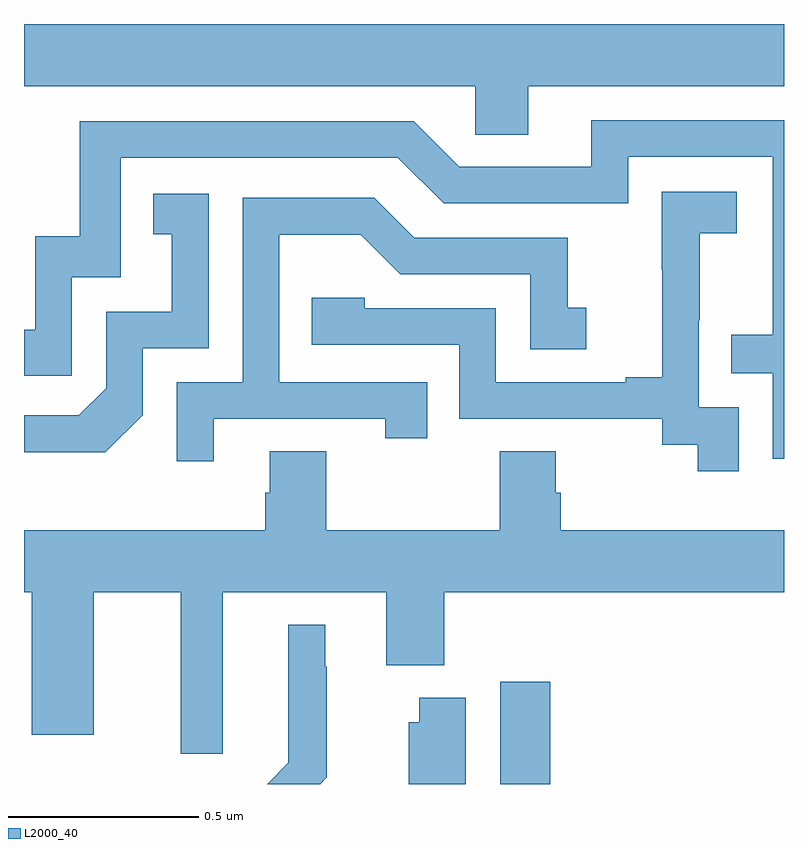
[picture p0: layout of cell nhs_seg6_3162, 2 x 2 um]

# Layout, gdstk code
import gdstk
lib = gdstk.Library(unit=1e-6, precision=1e-09)
def R(c, l, rs):  # rectangles x0, y0, x1, y1
    for r in rs: c.add(gdstk.rectangle(r[:2], r[2:], *l))
def P(c, l, *ps):  # polygons
    for p in ps: c.add(gdstk.Polygon(p, *l))
L2000_40 = (2000, 40)

nhs_seg6_3162 = lib.new_cell('nhs_seg6_3162')
R(nhs_seg6_3162, L2000_40, [(154.253,945.5,154.385,945.769)])
P(nhs_seg6_3162, L2000_40, [(154.327,947.336),(155,947.336),(155,947.5),(153,947.5),(153,947.336),(154.188,947.336),(154.188,947.209),(154.327,947.209)],
  [(155,947.247),(154.493,947.247),(154.493,947.124),(154.146,947.124),(154.026,947.244),(153.147,947.244),(153.147,946.942),(153.029,946.942),(153.029,946.695),(153,946.695),(153,946.575),(153.126,946.575),(153.126,946.833),(153.255,946.833),(153.255,947.148),(153.984,947.148),(154.104,947.028),(154.59,947.028),(154.59,947.151),(154.971,947.151),(154.971,946.682),(154.861,946.682),(154.861,946.581),(154.971,946.581),(154.971,946.356),(155,946.356)],
  [(154.881,946.491),(154.776,946.491),(154.776,946.721),(154.778,946.721),(154.778,946.949),(154.876,946.949),(154.876,947.059),(154.678,947.059),(154.678,946.853),(154.679,946.853),(154.679,946.57),(154.583,946.57),(154.583,946.557),(154.242,946.557),(154.242,946.752),(153.897,946.752),(153.897,946.779),(153.757,946.779),(153.757,946.656),(154.146,946.656),(154.146,946.461),(154.68,946.461),(154.68,946.393),(154.773,946.393),(154.773,946.323),(154.881,946.323)],
  [(153.312,946.47),(153.312,946.647),(153.486,946.647),(153.486,947.053),(153.34,947.053),(153.34,946.947),(153.389,946.947),(153.389,946.743),(153.216,946.743),(153.216,946.542),(153.144,946.47),(153,946.47),(153,946.373),(153.214,946.373)],
  [(153.499,946.461),(153.95,946.461),(153.95,946.41),(154.061,946.41),(154.061,946.557),(153.672,946.557),(153.672,946.946),(153.886,946.946),(153.99,946.842),(154.332,946.842),(154.332,946.644),(154.48,946.644),(154.48,946.753),(154.431,946.753),(154.431,946.938),(154.027,946.938),(153.922,947.043),(153.576,947.043),(153.576,946.557),(153.402,946.557),(153.402,946.35),(153.499,946.35)],
  [(153.523,946.004),(153.953,946.004),(153.953,945.812),(154.106,945.812),(154.106,946.004),(155,946.004),(155,946.168),(154.412,946.168),(154.412,946.266),(154.399,946.266),(154.399,946.376),(154.252,946.376),(154.252,946.168),(153.795,946.168),(153.795,946.376),(153.647,946.376),(153.647,946.266),(153.635,946.266),(153.635,946.168),(153,946.168),(153,946.004),(153.02,946.004),(153.02,945.63),(153.184,945.63),(153.184,946.004),(153.413,946.004),(153.413,945.579),(153.523,945.579)],
  [(153.797,945.518),(153.797,945.809),(153.793,945.809),(153.793,945.919),(153.695,945.919),(153.695,945.658),(153.696,945.658),(153.696,945.556),(153.64,945.5),(153.779,945.5)],
  [(154.162,945.727),(154.04,945.727),(154.04,945.663),(154.013,945.663),(154.013,945.5),(154.162,945.5)])

lib.write_gds('nhs_seg6_3162.gds')
